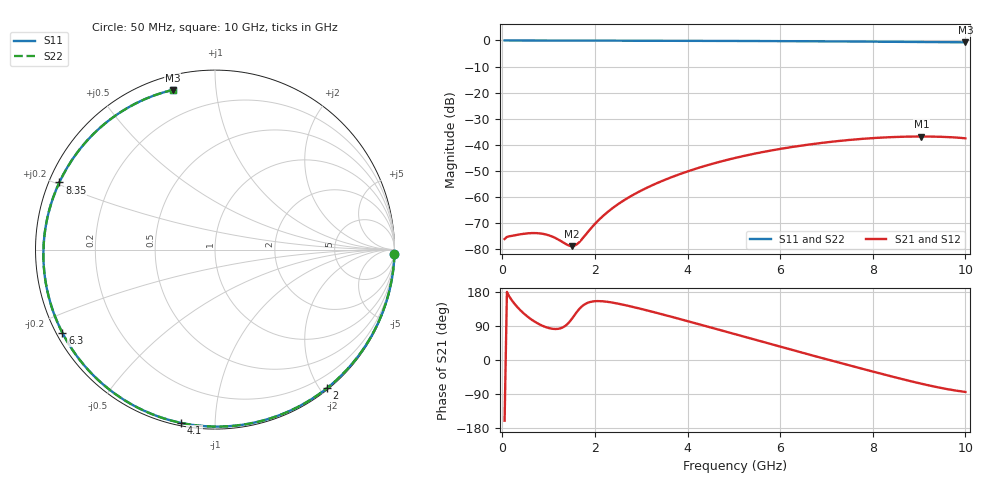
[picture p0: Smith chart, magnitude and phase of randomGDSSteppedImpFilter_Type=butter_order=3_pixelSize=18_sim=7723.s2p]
! freq	dB(S11)	phase(S11)	dB(S12)	phase(S12)
!  dB(S21)	phase(S21)	dB(S22)	phase(S22)
!S-par simulation data
#  GHz  S  DB  R 50
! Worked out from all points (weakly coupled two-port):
!   200 points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, 50 MHz to 10 GHz, reference 50 ohm
!   highest |S21| = -36.77 dB at 9.05 GHz (marker M1); lowest = -78.7 dB at 1.5 GHz (marker M2)
!   lowest |S11| = -0.7 dB at 10 GHz (marker M3), VSWR 24.07, Z = 3.3 + j38.3 ohm
!   |S11| at or under -10 dB: nowhere
!   |S22| runs from -0.7 to 0.0 dB; largest |S21 - S12| = 0
!   S11 on the Smith chart (normalised r, x): 50 MHz: 0, -88; 2 GHz: 0.02, -2.10; 4.1 GHz: 0.01, -0.82; 6.3 GHz: 0.02, -0.26; 8.35 GHz: 0.03, +0.21; 10 GHz: 0.07, +0.77
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0.05  -0.00 -1.3  -76.00 -160.2  -76.00 -160.2  -0.00 -1.3
0.1  -0.00 -2.6  -75.21 179.7  -75.21 179.7  -0.00 -2.6
0.4  -0.01 -10.4  -74.17 130.1  -74.17 130.1  -0.01 -10.4
0.8  -0.03 -20.8  -73.83 94.2  -73.83 94.2  -0.03 -20.8
1.05  -0.03 -27.2  -74.87 83.1  -74.87 83.1  -0.04 -27.2
1.5  -0.05 -38.6  -78.74 108.2  -78.74 108.2  -0.05 -38.6
1.6  -0.05 -41.1  -78.15 125.2  -78.15 125.2  -0.05 -41.1
1.75  -0.06 -44.8  -75.44 144.5  -75.44 144.5  -0.06 -44.8
2  -0.06 -51.0  -70.23 155.2  -70.23 155.2  -0.06 -51.0
2.3  -0.07 -58.4  -65.30 153.1  -65.30 153.1  -0.07 -58.4
2.6  -0.08 -65.7  -61.50 146.2  -61.50 146.2  -0.08 -65.7
3.4  -0.11 -84.7  -54.16 122.2  -54.16 122.2  -0.11 -84.7
4.1  -0.14 -101.0  -49.55 99.3  -49.55 99.3  -0.14 -101.0
5.05  -0.19 -122.6  -44.87 67.2  -44.87 67.2  -0.19 -122.6
5.7  -0.23 -137.5  -42.46 45.1  -42.46 45.1  -0.23 -137.5
6.3  -0.28 -151.3  -40.66 25.1  -40.66 25.1  -0.28 -151.3
6.7  -0.31 -160.8  -39.66 11.9  -39.66 11.9  -0.31 -160.8
7.55  -0.40 178.1  -38.00 -15.9  -38.00 -15.9  -0.40 178.1
8.35  -0.50 156.7  -37.04 -41.6  -37.04 -41.6  -0.50 156.7
9.05  -0.59 136.1  -36.77 -62.6  -36.77 -62.6  -0.59 136.1
9.55  -0.66 120.1  -36.93 -75.6  -36.93 -75.6  -0.66 120.1
10  -0.72 104.9  -37.47 -84.3  -37.47 -84.3  -0.72 104.9
